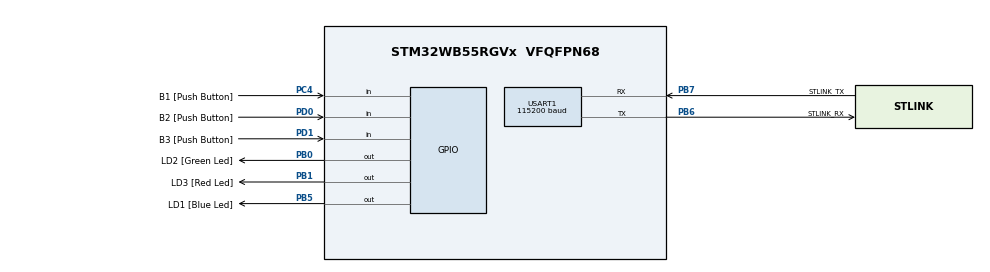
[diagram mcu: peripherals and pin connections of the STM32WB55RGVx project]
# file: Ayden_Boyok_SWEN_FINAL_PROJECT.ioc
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Mcu.Family=STM32WB
Mcu.Name=STM32WB55RGVx
Mcu.Package=VFQFPN68
NVIC.HSEM_IRQn=true\:0\:0\:false\:false\:true\:false\:true\:true
NVIC.IPCC_C1_RX_IRQn=true\:0\:0\:false\:false\:true\:true\:true\:true
NVIC.IPCC_C1_TX_IRQn=true\:0\:0\:false\:false\:true\:true\:true\:true
NVIC.PriorityGroup=NVIC_PRIORITYGROUP_4
NVIC.RTC_WKUP_IRQn=true\:0\:0\:false\:false\:true\:true\:true\:true
NVIC.USART1_IRQn=true\:0\:0\:false\:false\:true\:true\:true\:true
OSC_IN.Mode=HSE-External-Oscillator
OSC_IN.Signal=RCC_OSC_IN
OSC_OUT.Mode=HSE-External-Oscillator
OSC_OUT.Signal=RCC_OSC_OUT
PA11.Signal=USB_DM
PA12.Signal=USB_DP
PA13.GPIO_Label=JTMS
PA13.Signal=SYS_JTMS-SWDIO
PA14.GPIO_Label=JTCK
PA14.Signal=SYS_JTCK-SWCLK
PB0.GPIO_Label=LD2 [Green Led]
PB0.Signal=GPIO_Output
PB1.GPIO_Label=LD3 [Red Led]
PB1.Signal=GPIO_Output
PB3.GPIO_Label=JTDO
PB3.Signal=SYS_JTDO-SWO
PB5.GPIO_Label=LD1 [Blue Led]
PB5.Signal=GPIO_Output
PB6.GPIO_Label=STLINK_RX
PB6.Mode=Asynchronous
PB6.Signal=USART1_TX
PB7.GPIO_Label=STLINK_TX
PB7.Mode=Asynchronous
PB7.Signal=USART1_RX
PC13.Signal=SYS_WKUP2
PC14-OSC32_IN.Mode=LSE-External-Oscillator
PC14-OSC32_IN.Signal=RCC_OSC32_IN
PC15-OSC32_OUT.Mode=LSE-External-Oscillator
PC15-OSC32_OUT.Signal=RCC_OSC32_OUT
PC4.GPIO_Label=B1 [Push Button]
PC4.GPIO_PuPd=GPIO_PULLUP
PC4.Signal=GPIO_Input
PD0.GPIO_Label=B2 [Push Button]
PD0.Signal=GPIO_Input
PD1.GPIO_Label=B3 [Push Button]
PD1.Signal=GPIO_Input
ProjectManager.HeapSize=0x200
ProjectManager.StackSize=0x400
ProjectManager.TargetToolchain=STM32CubeIDE
RCC.ADCFreq_Value=128000000
RCC.AHBFreq_Value=32000000
RCC.APB1Freq_Value=32000000
RCC.APB1TimFreq_Value=32000000
RCC.APB2Freq_Value=32000000
RCC.APB2TimFreq_Value=32000000
RCC.APB3Freq_Value=16000000
RCC.CortexFreq_Value=32000000
RCC.HCLKFreq_Value=32000000
RCC.HSE_VALUE=32000000
RCC.HSI48_VALUE=48000000
RCC.HSI_VALUE=16000000
RCC.MSIClockRange=RCC_MSIRANGE_10
RCC.RFWKPClockSelection=RCC_RFWKPCLKSOURCE_LSE
RCC.RTCClockSelection=RCC_RTCCLKSOURCE_LSE
RCC.SMPSCLockSelectionVirtual=RCC_SMPSCLKSOURCE_HSI
RCC.SMPSCLockSelectionVirtualVirtual=RCC_SMPSCLKSOURCE_HSI
RCC.SMPSDivider=1
RCC.SYSCLKFreq_VALUE=32000000
RCC.USBFreq_Value=128000000
RCC.VCOOutputFreq_Value=256000000
RF1.Mode=RF1_Activate
RF1.Signal=RF_RF1
STM32_WPAN.AD_TYPE_COMPLETE_LOCAL_NAME=Ayden_Board
STM32_WPAN.AD_TYPE_COMPLETE_LOCAL_NAME_LENGTH=12
STM32_WPAN.AD_TYPE_SHORTENED_LOCAL_NAME_LENGTH=1
STM32_WPAN.CUSTOM_P2P_SERVER=Disabled
STM32_WPAN.CUSTOM_TEMPLATE=Enabled
STM32_WPAN.INCLUDE_AD_TYPE_COMPLETE_LOCAL_NAME=1
STM32_WPAN.INCLUDE_AD_TYPE_SHORTENED_LOCAL_NAME=0
STM32_WPAN.NUMBER_OF_SERVICES=1
STM32_WPAN.SERVICE1_CHAR1_GATT_NOTIFY_READ_REQ_AND_WAIT_FOR_APPL_RESP=\ 
STM32_WPAN.SERVICE1_CHAR1_GATT_NOTIFY_WRITE_REQ_AND_WAIT_FOR_APPL_RESP=\ 
STM32_WPAN.SERVICE1_CHAR1_LENGTH_CHARACTERISTIC=CHAR_VALUE_LEN_VARIABLE
STM32_WPAN.SERVICE1_CHAR1_LONG_NAME=Write
STM32_WPAN.SERVICE1_CHAR1_PROP_WRITE=CHAR_PROP_WRITE
STM32_WPAN.SERVICE1_CHAR1_SHORT_NAME=Write
STM32_WPAN.SERVICE1_CHAR1_VALUE_LENGTH=32
STM32_WPAN.SERVICE1_CHAR2_LENGTH_CHARACTERISTIC=CHAR_VALUE_LEN_VARIABLE
STM32_WPAN.SERVICE1_CHAR2_LONG_NAME=Receive
STM32_WPAN.SERVICE1_CHAR2_PROP_NOTIFY=CHAR_PROP_NOTIFY
STM32_WPAN.SERVICE1_CHAR2_SHORT_NAME=Receive
STM32_WPAN.SERVICE1_CHAR2_UUID=00 01
STM32_WPAN.SERVICE1_CHAR2_UUID_128_INPUT_TYPE=0
STM32_WPAN.SERVICE1_CHAR2_VALUE_LENGTH=32
STM32_WPAN.SERVICE1_LONG_NAME=Message
STM32_WPAN.SERVICE1_NUMBER_OF_CHARACTERISTICS=2
STM32_WPAN.SERVICE1_SHORT_NAME=Message
USART1.BaudRate=115200
USART1.VirtualMode-Asynchronous=VM_ASYNC
VP_HSEM_VS_HSEM.Mode=HSEM_Activate
VP_IPCC_VS_IPCC.Mode=IPCC_Activate
VP_MEMORYMAP_VS_MEMORYMAP.Mode=CurAppReg
VP_RTC_VS_RTC_Activate.Mode=RTC_Enabled
VP_RTC_VS_RTC_WakeUp_intern.Mode=WakeUp
VP_SEQUENCER_VS_SEQUENCER.Mode=SEQUENCER_Enabled
VP_STM32_WPAN_VS_BLE_HOST.Mode=STM32_WPAN_Enabled
VP_TINY_LPM_VS_TINY_LPM.Mode=TINY_LPM_Enabled
board=NUCLEO-WB55RG

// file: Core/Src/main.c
/* USER CODE BEGIN Header */
/**
  ******************************************************************************
  * @file           : main.c
  * @brief          : Main program body
  ******************************************************************************
  * @attention
  *
  * Copyright (c) 2023 STMicroelectronics.
  * All rights reserved.
  *
  * This software is licensed under terms that can be found in the LICENSE file
  * in the root directory of this software component.
  * If no LICENSE file comes with this software, it is provided AS-IS.
  *
  ******************************************************************************
  */
/* USER CODE END Header */
#include "main.h"

/* USER CODE BEGIN Includes */
#include <stdio.h>
/* USER CODE END Includes */

IPCC_HandleTypeDef hipcc;

RTC_HandleTypeDef hrtc;

UART_HandleTypeDef huart1;

/* USER CODE BEGIN PV */
uint8_t buffer[32] = "hello \n\r";
uint8_t buffer_index;
uint8_t data[2];
uint8_t other_buffer[32];
uint8_t complete;
/* USER CODE END PV */

void SystemClock_Config(void);
void PeriphCommonClock_Config(void);
static void MX_GPIO_Init(void);
static void MX_IPCC_Init(void);
static void MX_RTC_Init(void);
static void MX_USART1_UART_Init(void);
static void MX_RF_Init(void);
/* USER CODE BEGIN PFP */
void HAL_UART_RxCpltCallback(UART_HandleTypeDef *huart);
void print(char* string);
/* USER CODE END PFP */

/* USER CODE BEGIN 0 */
int _write(int file, char *ptr, int len){
	HAL_UART_Transmit(&huart1, (uint8_t*) ptr, len, 100);
	return len;
}

void print(char* string){
	printf(string);
}
/* USER CODE END 0 */

int main(void)
{
  /* USER CODE BEGIN 1 */
	char buf[100];
  /* USER CODE END 1 */

  /* MCU Configuration--------------------------------------------------------*/

  /* Reset of all peripherals, Initializes the Flash interface and the Systick. */
  HAL_Init();
  /* Config code for STM32_WPAN (HSE Tuning must be done before system clock configuration) */
  MX_APPE_Config();

  /* Configure the system clock */
  SystemClock_Config();

/* Configure the peripherals common clocks */
  PeriphCommonClock_Config();

  /* IPCC initialisation */
  MX_IPCC_Init();

  /* Initialize all configured peripherals */
  MX_GPIO_Init();
  MX_RTC_Init();
  MX_USART1_UART_Init();
  MX_RF_Init();
  /* USER CODE BEGIN 2 */
  HAL_UART_Receive_IT(&huart1, data, 1);
  /* USER CODE END 2 */

  /* Init code for STM32_WPAN */
  MX_APPE_Init();

  /* Infinite loop */
  while (1)
  {
	//printf("test \n\r");
    MX_APPE_Process();

  }
}

void SystemClock_Config(void)
{
  RCC_OscInitTypeDef RCC_OscInitStruct = {0};
  RCC_ClkInitTypeDef RCC_ClkInitStruct = {0};

  /** Configure LSE Drive Capability
  */
  HAL_PWR_EnableBkUpAccess();
  __HAL_RCC_LSEDRIVE_CONFIG(RCC_LSEDRIVE_MEDIUMHIGH);

  /** Configure the main internal regulator output voltage
  */
  __HAL_PWR_VOLTAGESCALING_CONFIG(PWR_REGULATOR_VOLTAGE_SCALE1);

  /** Initializes the RCC Oscillators according to the specified parameters
  * in the RCC_OscInitTypeDef structure.
  */
  RCC_OscInitStruct.OscillatorType = RCC_OSCILLATORTYPE_HSI|RCC_OSCILLATORTYPE_HSE
                              |RCC_OSCILLATORTYPE_LSE|RCC_OSCILLATORTYPE_MSI;
  RCC_OscInitStruct.HSEState = RCC_HSE_ON;
  RCC_OscInitStruct.LSEState = RCC_LSE_ON;
  RCC_OscInitStruct.HSIState = RCC_HSI_ON;
  RCC_OscInitStruct.MSIState = RCC_MSI_ON;
  RCC_OscInitStruct.HSICalibrationValue = RCC_HSICALIBRATION_DEFAULT;
  RCC_OscInitStruct.MSICalibrationValue = RCC_MSICALIBRATION_DEFAULT;
  RCC_OscInitStruct.MSIClockRange = RCC_MSIRANGE_10;
  RCC_OscInitStruct.PLL.PLLState = RCC_PLL_NONE;
  if (HAL_RCC_OscConfig(&RCC_OscInitStruct) != HAL_OK)
  {
    Error_Handler();
  }

  /** Configure the SYSCLKSource, HCLK, PCLK1 and PCLK2 clocks dividers
  */
  RCC_ClkInitStruct.ClockType = RCC_CLOCKTYPE_HCLK4|RCC_CLOCKTYPE_HCLK2
                              |RCC_CLOCKTYPE_HCLK|RCC_CLOCKTYPE_SYSCLK
                              |RCC_CLOCKTYPE_PCLK1|RCC_CLOCKTYPE_PCLK2;
  RCC_ClkInitStruct.SYSCLKSource = RCC_SYSCLKSOURCE_MSI;
  RCC_ClkInitStruct.AHBCLKDivider = RCC_SYSCLK_DIV1;
  RCC_ClkInitStruct.APB1CLKDivider = RCC_HCLK_DIV1;
  RCC_ClkInitStruct.APB2CLKDivider = RCC_HCLK_DIV1;
  RCC_ClkInitStruct.AHBCLK2Divider = RCC_SYSCLK_DIV1;
  RCC_ClkInitStruct.AHBCLK4Divider = RCC_SYSCLK_DIV1;

  if (HAL_RCC_ClockConfig(&RCC_ClkInitStruct, FLASH_LATENCY_1) != HAL_OK)
  {
    Error_Handler();
  }
}

void PeriphCommonClock_Config(void)
{
  RCC_PeriphCLKInitTypeDef PeriphClkInitStruct = {0};

  /** Initializes the peripherals clock
  */
  PeriphClkInitStruct.PeriphClockSelection = RCC_PERIPHCLK_SMPS|RCC_PERIPHCLK_RFWAKEUP;
  PeriphClkInitStruct.RFWakeUpClockSelection = RCC_RFWKPCLKSOURCE_LSE;
  PeriphClkInitStruct.SmpsClockSelection = RCC_SMPSCLKSOURCE_HSI;
  PeriphClkInitStruct.SmpsDivSelection = RCC_SMPSCLKDIV_RANGE0;

  if (HAL_RCCEx_PeriphCLKConfig(&PeriphClkInitStruct) != HAL_OK)
  {
    Error_Handler();
  }
}

static void MX_IPCC_Init(void)
{

  hipcc.Instance = IPCC;
  if (HAL_IPCC_Init(&hipcc) != HAL_OK)
  {
    Error_Handler();
  }

}

static void MX_RF_Init(void)
{

}

static void MX_RTC_Init(void)
{

  /** Initialize RTC Only
  */
  hrtc.Instance = RTC;
  hrtc.Init.HourFormat = RTC_HOURFORMAT_24;
  hrtc.Init.AsynchPrediv = CFG_RTC_ASYNCH_PRESCALER;
  hrtc.Init.SynchPrediv = CFG_RTC_SYNCH_PRESCALER;
  hrtc.Init.OutPut = RTC_OUTPUT_DISABLE;
  hrtc.Init.OutPutPolarity = RTC_OUTPUT_POLARITY_HIGH;
  hrtc.Init.OutPutType = RTC_OUTPUT_TYPE_OPENDRAIN;
  hrtc.Init.OutPutRemap = RTC_OUTPUT_REMAP_NONE;
  if (HAL_RTC_Init(&hrtc) != HAL_OK)
  {
    Error_Handler();
  }

  /** Enable the WakeUp
  */
  if (HAL_RTCEx_SetWakeUpTimer_IT(&hrtc, 0, RTC_WAKEUPCLOCK_RTCCLK_DIV16) != HAL_OK)
  {
    Error_Handler();
  }

}

static void MX_USART1_UART_Init(void)
{

  huart1.Instance = USART1;
  huart1.Init.BaudRate = 115200;
  huart1.Init.WordLength = UART_WORDLENGTH_8B;
  huart1.Init.StopBits = UART_STOPBITS_1;
  huart1.Init.Parity = UART_PARITY_NONE;
  huart1.Init.Mode = UART_MODE_TX_RX;
  huart1.Init.HwFlowCtl = UART_HWCONTROL_NONE;
  huart1.Init.OverSampling = UART_OVERSAMPLING_16;
  huart1.Init.OneBitSampling = UART_ONE_BIT_SAMPLE_DISABLE;
  huart1.Init.ClockPrescaler = UART_PRESCALER_DIV1;
  huart1.AdvancedInit.AdvFeatureInit = UART_ADVFEATURE_NO_INIT;
  if (HAL_UART_Init(&huart1) != HAL_OK)
  {
    Error_Handler();
  }
  if (HAL_UARTEx_SetTxFifoThreshold(&huart1, UART_TXFIFO_THRESHOLD_1_8) != HAL_OK)
  {
    Error_Handler();
  }
  if (HAL_UARTEx_SetRxFifoThreshold(&huart1, UART_RXFIFO_THRESHOLD_1_8) != HAL_OK)
  {
    Error_Handler();
  }
  if (HAL_UARTEx_DisableFifoMode(&huart1) != HAL_OK)
  {
    Error_Handler();
  }

}

static void MX_GPIO_Init(void)
{
  GPIO_InitTypeDef GPIO_InitStruct = {0};

  /* GPIO Ports Clock Enable */
  __HAL_RCC_GPIOC_CLK_ENABLE();
  __HAL_RCC_GPIOB_CLK_ENABLE();
  __HAL_RCC_GPIOA_CLK_ENABLE();
  __HAL_RCC_GPIOD_CLK_ENABLE();

  /*Configure GPIO pin Output Level */
  HAL_GPIO_WritePin(GPIOB, LD2_Pin|LD3_Pin|LD1_Pin, GPIO_PIN_RESET);

  /*Configure GPIO pin : B1_Pin */
  GPIO_InitStruct.Pin = B1_Pin;
  GPIO_InitStruct.Mode = GPIO_MODE_INPUT;
  GPIO_InitStruct.Pull = GPIO_PULLUP;
  HAL_GPIO_Init(B1_GPIO_Port, &GPIO_InitStruct);

  /*Configure GPIO pins : LD2_Pin LD3_Pin LD1_Pin */
  GPIO_InitStruct.Pin = LD2_Pin|LD3_Pin|LD1_Pin;
  GPIO_InitStruct.Mode = GPIO_MODE_OUTPUT_PP;
  GPIO_InitStruct.Pull = GPIO_NOPULL;
  GPIO_InitStruct.Speed = GPIO_SPEED_FREQ_LOW;
  HAL_GPIO_Init(GPIOB, &GPIO_InitStruct);

  /*Configure GPIO pins : PA11 PA12 */
  GPIO_InitStruct.Pin = GPIO_PIN_11|GPIO_PIN_12;
  GPIO_InitStruct.Mode = GPIO_MODE_AF_PP;
  GPIO_InitStruct.Pull = GPIO_NOPULL;
  GPIO_InitStruct.Speed = GPIO_SPEED_FREQ_LOW;
  GPIO_InitStruct.Alternate = GPIO_AF10_USB;
  HAL_GPIO_Init(GPIOA, &GPIO_InitStruct);

  /*Configure GPIO pins : B2_Pin B3_Pin */
  GPIO_InitStruct.Pin = B2_Pin|B3_Pin;
  GPIO_InitStruct.Mode = GPIO_MODE_INPUT;
  GPIO_InitStruct.Pull = GPIO_NOPULL;
  HAL_GPIO_Init(GPIOD, &GPIO_InitStruct);

}

/* USER CODE BEGIN 4 */
void HAL_UART_RxCpltCallback(UART_HandleTypeDef *huart)
{
  UNUSED(huart);

  uint8_t i;
  if (huart->Instance == USART1){
	  if (buffer_index == 0){
		  for (i=0; i<100; i++){
			  other_buffer[i] = 0;
		  }
	  }
	  if (data[0] != 13){
		  other_buffer[++buffer_index] = data[0];
	  }
	  else{
		  buffer_index = 0;
		  complete = 1;
		  HAL_UART_Transmit(&huart1, (uint8_t*) "\n\r", 2, 100);
	  }
	  HAL_UART_Receive_IT(&huart1, data, 1);
	  HAL_UART_Transmit(&huart1, data, sizeof(data), 100);
  }
}
/* USER CODE END 4 */

void Error_Handler(void)
{
  __disable_irq();
  while (1)
  {
  }
}
